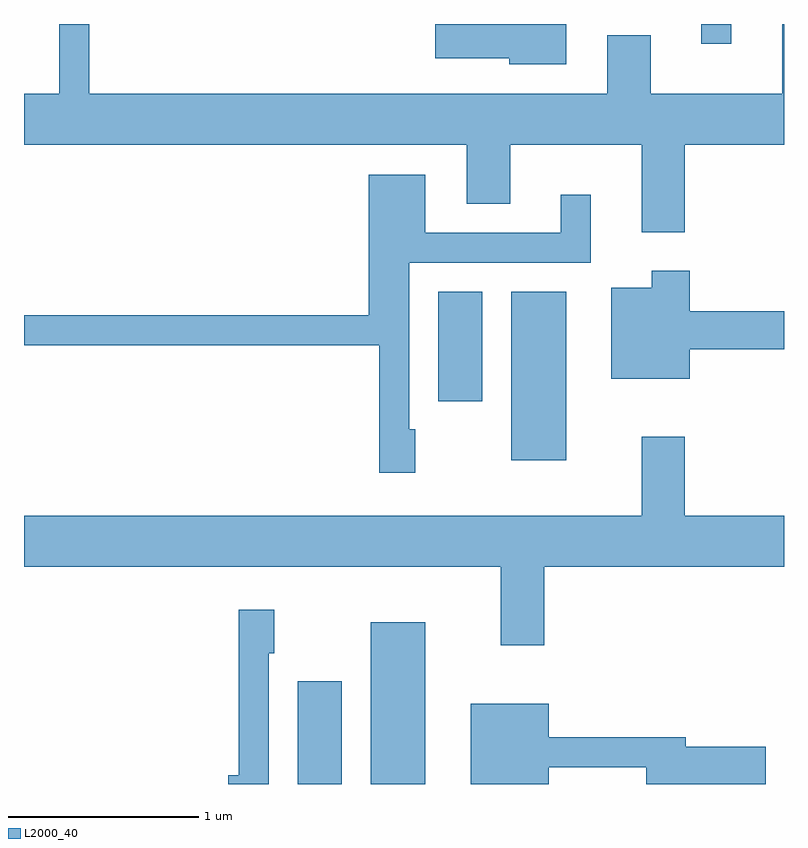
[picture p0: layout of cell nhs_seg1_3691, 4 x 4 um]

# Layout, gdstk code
import gdstk
lib = gdstk.Library(unit=1e-6, precision=1e-09)
def R(c, l, rs):  # rectangles x0, y0, x1, y1
    for r in rs: c.add(gdstk.rectangle(r[:2], r[2:], *l))
def P(c, l, *ps):  # polygons
    for p in ps: c.add(gdstk.Polygon(p, *l))
L2000_40 = (2000, 40)

nhs_seg1_3691 = lib.new_cell('nhs_seg1_3691')
R(nhs_seg1_3691, L2000_40, [(297.051,951.712,297.284,952.254), (297.436,951.712,297.724,952.564), (298.176,953.416,298.464,954.304), (297.791,953.726,298.024,954.304), (299.176,955.608,299.334,955.712)])
P(nhs_seg1_3691, L2000_40, [(299.089,955.076),(299.611,955.076),(299.611,955.712),(299.601,955.712),(299.601,955.344),(298.909,955.344),(298.909,955.654),(298.681,955.654),(298.681,955.344),(295.954,955.344),(295.954,955.712),(295.796,955.712),(295.796,955.344),(295.611,955.344),(295.611,955.076),(297.941,955.076),(297.941,954.766),(298.169,954.766),(298.169,955.076),(298.861,955.076),(298.861,954.616),(299.089,954.616)],
  [(298.464,955.712),(297.776,955.712),(297.776,955.531),(298.166,955.531),(298.166,955.501),(298.464,955.501)],
  [(297.669,953.579),(297.639,953.579),(297.639,954.456),(298.594,954.456),(298.594,954.813),(298.436,954.813),(298.436,954.614),(297.724,954.614),(297.724,954.919),(297.426,954.919),(297.426,954.179),(295.611,954.179),(295.611,954.021),(297.481,954.021),(297.481,953.351),(297.669,953.351)],
  [(299.114,954.001),(299.611,954.001),(299.611,954.199),(299.114,954.199),(299.114,954.414),(298.916,954.414),(298.916,954.324),(298.701,954.324),(298.701,953.846),(299.114,953.846)],
  [(298.349,952.856),(299.611,952.856),(299.611,953.124),(299.089,953.124),(299.089,953.539),(298.861,953.539),(298.861,953.124),(295.611,953.124),(295.611,952.856),(298.121,952.856),(298.121,952.441),(298.349,952.441)],
  [(296.899,952.401),(296.929,952.401),(296.929,952.629),(296.741,952.629),(296.741,951.759),(296.686,951.759),(296.686,951.712),(296.899,951.712)],
  [(298.374,951.801),(298.886,951.801),(298.886,951.712),(299.514,951.712),(299.514,951.909),(299.094,951.909),(299.094,951.959),(298.374,951.959),(298.374,952.134),(297.961,952.134),(297.961,951.712),(298.374,951.712)])

lib.write_gds('nhs_seg1_3691.gds')
